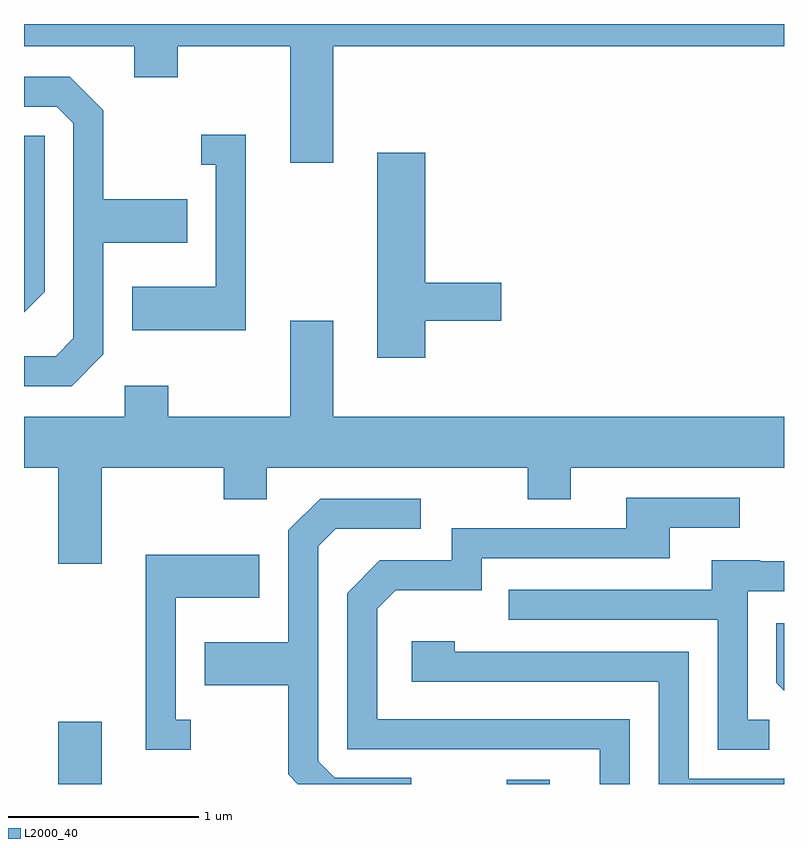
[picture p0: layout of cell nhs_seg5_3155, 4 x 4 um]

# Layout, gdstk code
import gdstk
lib = gdstk.Library(unit=1e-6, precision=1e-09)
def R(c, l, rs):  # rectangles x0, y0, x1, y1
    for r in rs: c.add(gdstk.rectangle(r[:2], r[2:], *l))
def P(c, l, *ps):  # polygons
    for p in ps: c.add(gdstk.Polygon(p, *l))
L2000_40 = (2000, 40)

nhs_seg5_3155 = lib.new_cell('nhs_seg5_3155')
R(nhs_seg5_3155, L2000_40, [(279.791,1404.072,280.019,1404.399), (282.151,1404.072,282.379,1404.094)])
P(nhs_seg5_3155, L2000_40, [(279.611,1407.956),(280.191,1407.956),(280.191,1407.791),(280.419,1407.791),(280.419,1407.956),(281.011,1407.956),(281.011,1407.341),(281.239,1407.341),(281.239,1407.956),(283.611,1407.956),(283.611,1408.072),(279.611,1408.072)],
  [(280.029,1406.334),(280.029,1406.921),(280.469,1406.921),(280.469,1407.149),(280.029,1407.149),(280.029,1407.617),(279.852,1407.794),(279.611,1407.794),(279.611,1407.636),(279.784,1407.636),(279.871,1407.549),(279.871,1406.417),(279.779,1406.324),(279.611,1406.324),(279.611,1406.166),(279.862,1406.166)],
  [(280.779,1407.489),(280.543,1407.489),(280.543,1407.331),(280.621,1407.331),(280.621,1406.689),(280.181,1406.689),(280.181,1406.461),(280.779,1406.461)],
  [(279.719,1406.664),(279.719,1407.484),(279.611,1407.484),(279.611,1406.555)],
  [(281.724,1406.511),(282.124,1406.511),(282.124,1406.709),(281.724,1406.709),(281.724,1407.394),(281.471,1407.394),(281.471,1406.316),(281.724,1406.316)],
  [(280.019,1405.736),(280.661,1405.736),(280.661,1405.571),(280.889,1405.571),(280.889,1405.736),(282.261,1405.736),(282.261,1405.571),(282.489,1405.571),(282.489,1405.736),(283.611,1405.736),(283.611,1406.004),(281.239,1406.004),(281.239,1406.509),(281.011,1406.509),(281.011,1406.004),(280.369,1406.004),(280.369,1406.169),(280.141,1406.169),(280.141,1406.004),(279.611,1406.004),(279.611,1405.736),(279.791,1405.736),(279.791,1405.231),(280.019,1405.231)],
  [(282.799,1404.414),(281.469,1404.414),(281.469,1404.994),(281.567,1405.091),(282.019,1405.091),(282.019,1405.261),(283.009,1405.261),(283.009,1405.421),(283.378,1405.421),(283.378,1405.579),(282.781,1405.579),(282.781,1405.419),(281.861,1405.419),(281.861,1405.249),(281.484,1405.249),(281.311,1405.077),(281.311,1404.256),(282.641,1404.256),(282.641,1404.072),(282.799,1404.072)],
  [(281.648,1404.104),(281.247,1404.104),(281.159,1404.192),(281.159,1405.324),(281.252,1405.416),(281.698,1405.416),(281.698,1405.574),(281.169,1405.574),(281.001,1405.407),(281.001,1404.819),(280.561,1404.819),(280.561,1404.591),(281.001,1404.591),(281.001,1404.124),(281.053,1404.072),(281.648,1404.072)],
  [(280.488,1404.409),(280.409,1404.409),(280.409,1405.051),(280.849,1405.051),(280.849,1405.279),(280.251,1405.279),(280.251,1404.251),(280.488,1404.251)],
  [(283.533,1404.409),(283.419,1404.409),(283.419,1405.086),(283.611,1405.086),(283.611,1405.244),(283.485,1405.244),(283.485,1405.249),(283.231,1405.249),(283.231,1405.094),(282.163,1405.094),(282.163,1404.936),(283.261,1404.936),(283.261,1404.251),(283.533,1404.251)],
  [(283.611,1404.918),(283.571,1404.918),(283.571,1404.604),(283.611,1404.564)],
  [(283.611,1404.101),(283.609,1404.099),(283.109,1404.099),(283.109,1404.769),(281.879,1404.769),(281.879,1404.824),(281.651,1404.824),(281.651,1404.611),(282.951,1404.611),(282.951,1404.072),(283.611,1404.072)])

lib.write_gds('nhs_seg5_3155.gds')
